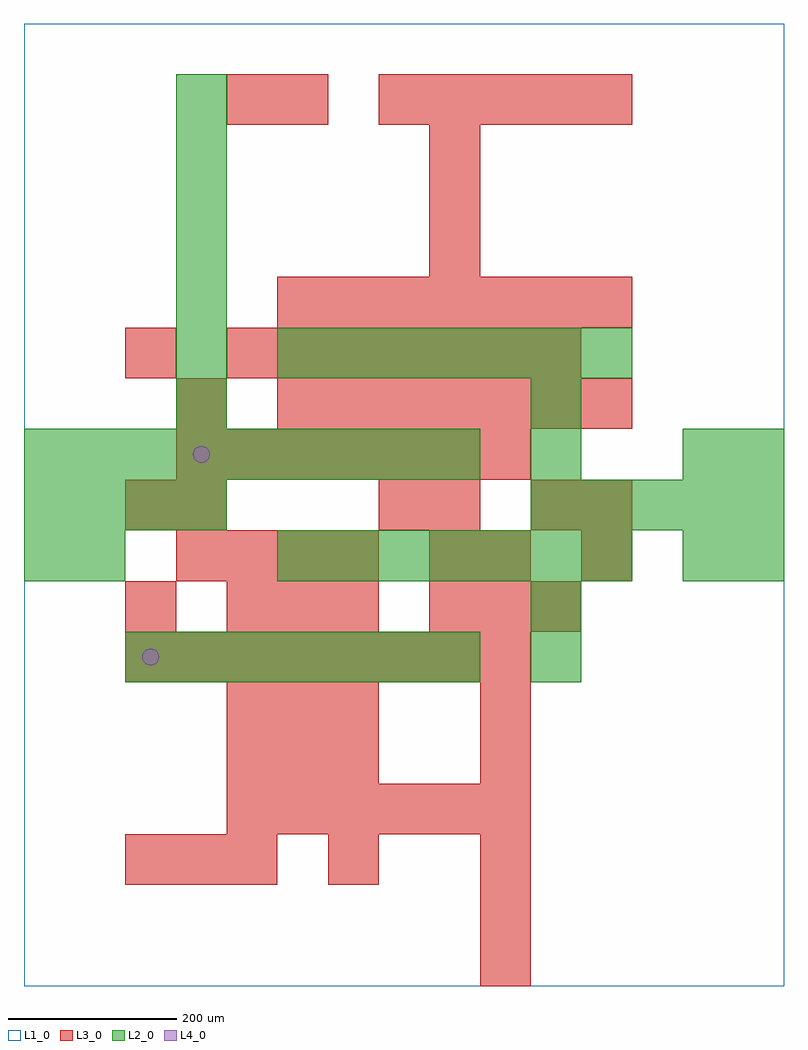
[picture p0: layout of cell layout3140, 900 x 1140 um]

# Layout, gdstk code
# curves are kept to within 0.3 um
import gdstk
lib = gdstk.Library(unit=1e-6, precision=1e-09)
def R(c, l, rs):  # rectangles x0, y0, x1, y1
    for r in rs: c.add(gdstk.rectangle(r[:2], r[2:], *l))
def A(c, l, x, y, w, h, nx, ny, dx, dy):  # array of equal rectangles
    R(c, l, [(x+i*dx, y+j*dy, x+i*dx+w, y+j*dy+h) for i in range(nx) for j in range(ny)])
def P(c, l, *ps):  # polygons
    for p in ps: c.add(gdstk.Polygon(p, *l))
L1_0 = (1, 0)
L2_0 = (2, 0)
L3_0 = (3, 0)
L4_0 = (4, 0)

layout3140 = lib.new_cell('layout3140')
R(layout3140, L1_0, [(0,0,900,1140)])
A(layout3140, L2_0, 120, 360, 60, 60, 7, 1, 60, 0)
A(layout3140, L2_0, 300, 480, 60, 60, 7, 2, 60, 240)
A(layout3140, L2_0, 0, 540, 60, 60, 4, 1, 60, 0)
A(layout3140, L2_0, 600, 540, 60, 60, 5, 1, 60, 0)
A(layout3140, L2_0, 0, 600, 60, 60, 9, 1, 60, 0)
A(layout3140, L2_0, 180, 660, 60, 60, 1, 7, 0, 60)
R(layout3140, L2_0, [(600,360,660,420), (600,420,660,480), (0,480,60,540), (60,480,120,540), (780,480,840,540), (840,480,900,540), (600,600,660,660), (780,600,840,660), (840,600,900,660), (600,660,660,720)])
A(layout3140, L3_0, 540, 0, 60, 60, 1, 3, 0, 60)
A(layout3140, L3_0, 120, 120, 60, 60, 3, 1, 60, 0)
A(layout3140, L3_0, 240, 180, 60, 60, 6, 1, 60, 0)
A(layout3140, L3_0, 240, 240, 60, 60, 3, 2, 60, 60)
A(layout3140, L3_0, 120, 360, 60, 60, 8, 1, 60, 0)
A(layout3140, L3_0, 240, 420, 60, 60, 3, 1, 60, 0)
A(layout3140, L3_0, 480, 420, 60, 60, 3, 1, 60, 0)
A(layout3140, L3_0, 180, 480, 60, 60, 4, 1, 60, 0)
A(layout3140, L3_0, 180, 600, 60, 60, 7, 1, 60, 0)
A(layout3140, L3_0, 300, 660, 60, 60, 7, 2, 60, 120)
A(layout3140, L3_0, 240, 720, 60, 60, 7, 1, 60, 0)
A(layout3140, L3_0, 480, 840, 60, 60, 1, 3, 0, 60)
A(layout3140, L3_0, 420, 1020, 60, 60, 5, 1, 60, 0)
R(layout3140, L3_0, [(360,120,420,180), (540,240,600,300), (540,300,600,360), (120,420,180,480), (480,480,540,540), (540,480,600,540), (660,480,720,540), (120,540,180,600), (180,540,240,600), (420,540,480,600), (480,540,540,600), (600,540,660,600), (660,540,720,600), (180,660,240,720), (120,720,180,780), (240,1020,300,1080), (300,1020,360,1080)])
P(layout3140, L4_0, [(160,390),(159.239,393.827),(157.071,397.071),(153.827,399.239),(150,400),(146.173,399.239),(142.929,397.071),(140.761,393.827),(140,390),(140.761,386.173),(142.929,382.929),(146.173,380.761),(150,380),(153.827,380.761),(157.071,382.929),(159.239,386.173)],
  [(220,630),(219.239,633.827),(217.071,637.071),(213.827,639.239),(210,640),(206.173,639.239),(202.929,637.071),(200.761,633.827),(200,630),(200.761,626.173),(202.929,622.929),(206.173,620.761),(210,620),(213.827,620.761),(217.071,622.929),(219.239,626.173)])

lib.write_gds('layout3140.gds')
